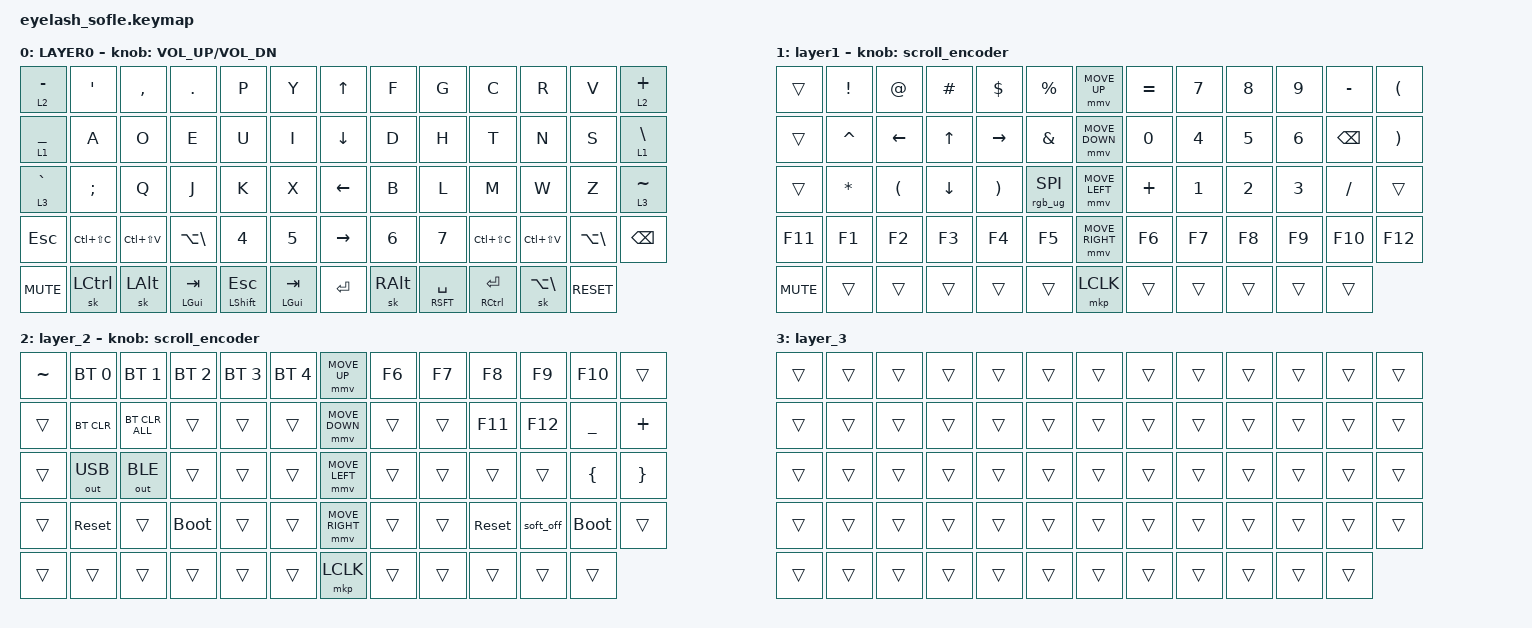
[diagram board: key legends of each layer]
#define ZMK_POINTING_DEFAULT_MOVE_VAL 1200  // 600
#define ZMK_POINTING_DEFAULT_SCRL_VAL 25   // 10

#include <input/processors.dtsi>
#include <zephyr/dt-bindings/input/input-event-codes.h>
#include <behaviors.dtsi>
#include <dt-bindings/zmk/bt.h>
#include <dt-bindings/zmk/ext_power.h>
#include <dt-bindings/zmk/keys.h>
#include <dt-bindings/zmk/pointing.h>
#include <dt-bindings/zmk/rgb.h>
#include <dt-bindings/zmk/outputs.h>

&mmv_input_listener { input-processors = <&zip_xy_scaler 2 1>; };

&msc_input_listener { input-processors = <&zip_scroll_scaler 2 1>; };

&msc {
    acceleration-exponent = <1>;      // 0
    time-to-max-speed-ms = <100>;       // 300
    delay-ms = <0>;                   // 0
};

&mmv {
    time-to-max-speed-ms = <500>;
    acceleration-exponent = <1>;
    trigger-period-ms = <16>;
};


/ {

    scroll_encoder: scroll_encoder {
        compatible = "zmk,behavior-sensor-rotate";
        #sensor-binding-cells = <0>;
        bindings = <&msc SCRL_DOWN>, <&msc SCRL_UP>;
        tap-ms = <100>;
    };

    keymap {
        compatible = "zmk,keymap";

        layer0 {
            bindings = <
&lt 2 MINUS  &kp SQT    &kp COMMA     &kp DOT        &kp P            &kp Y       &kp UP_ARROW     &kp F       &kp G            &kp C               &kp R            &kp V           &lt 2 PLUS
&lt 1 UNDER &kp A      &kp O         &kp E          &kp U             &kp I       &kp DOWN_ARROW   &kp D       &kp H            &kp T               &kp N            &kp S           &lt 1 BSLH
&lt 3 GRAVE &kp SEMI  &kp Q         &kp J           &kp K             &kp X       &kp LEFT_ARROW   &kp B       &kp L            &kp M               &kp W            &kp Z           &lt 3 TILDE
&kp ESC     &kp LC(LS(C)) &kp LC(LS(V)) &kp LA(BSLH)   &kp N4         &kp N5      &kp RIGHT_ARROW  &kp N6      &kp N7           &kp LC(LS(C))       &kp LC(LS(V))    &kp LA(BSLH)    &kp BACKSPACE
&kp C_MUTE  &sk LCTRL  &sk LALT      &mt LGUI TAB   &mt LSHFT ESC   &mt LGUI TAB  &kp ENTER        &sk RALT    &mt RSFT SPACE   &mt RCTRL ENTER      &sk LA(BSLH)     &kp C_RESET
            >;

            sensor-bindings = <&inc_dec_kp C_VOLUME_UP C_VOL_DN>;
            display-name = "LAYER0";
        };

        layer_1 {
            bindings = <
&trans      &kp EXCL    &kp AT            &kp HASH         &kp DOLLAR         &kp PERCENT          &mmv MOVE_UP         &kp EQUAL     &kp N7     &kp N8      &kp N9     &kp MINUS        &kp LPAR
&trans      &kp CARET   &kp LEFT_ARROW    &kp UP_ARROW     &kp RIGHT_ARROW    &kp AMPS             &mmv MOVE_DOWN       &kp N0        &kp N4     &kp N5      &kp N6     &kp BACKSPACE    &kp RPAR
&trans      &kp STAR    &kp LPAR          &kp DOWN_ARROW   &kp RPAR           &rgb_ug RGB_SPI      &mmv MOVE_LEFT       &kp PLUS      &kp N1     &kp N2      &kp N3     &kp SLASH        &trans
&kp F11     &kp F1      &kp F2            &kp F3           &kp F4             &kp F5               &mmv MOVE_RIGHT      &kp F6        &kp F7     &kp F8      &kp F9     &kp F10          &kp F12
&kp C_MUTE  &trans      &trans            &trans            &trans            &trans               &mkp LCLK            &trans        &trans     &trans      &trans     &trans
            >;

            display-name = "layer1";
            sensor-bindings = <&scroll_encoder>;
        };

        layer_2 {
            bindings = <
&kp TILDE  &bt BT_SEL 0  &bt BT_SEL 1    &bt BT_SEL 2  &bt BT_SEL 3  &bt BT_SEL 4    &mmv MOVE_UP     &kp F6  &kp F7  &kp F8      &kp F9     &kp F10      &trans
&trans     &bt BT_CLR    &bt BT_CLR_ALL  &trans        &trans        &trans          &mmv MOVE_DOWN   &trans  &trans  &kp F11     &kp F12    &kp UNDER    &kp PLUS
&trans     &out OUT_USB  &out OUT_BLE    &trans        &trans        &trans          &mmv MOVE_LEFT   &trans  &trans  &trans      &trans     &kp LBRC     &kp RBRC
&trans     &sys_reset    &trans          &bootloader   &trans        &trans          &mmv MOVE_RIGHT  &trans  &trans  &sys_reset  &soft_off  &bootloader  &trans
&trans     &trans        &trans          &trans        &trans        &trans          &mkp LCLK        &trans  &trans  &trans      &trans     &trans
            >;

            sensor-bindings = <&scroll_encoder>;
        };

        layer_3 {
            bindings = <
&trans  &trans  &trans  &trans  &trans  &trans    &trans  &trans  &trans  &trans  &trans  &trans  &trans
&trans  &trans  &trans  &trans  &trans  &trans    &trans  &trans  &trans  &trans  &trans  &trans  &trans
&trans  &trans  &trans  &trans  &trans  &trans    &trans  &trans  &trans  &trans  &trans  &trans  &trans
&trans  &trans  &trans  &trans  &trans  &trans    &trans  &trans  &trans  &trans  &trans  &trans  &trans
&trans  &trans  &trans  &trans  &trans  &trans    &trans  &trans  &trans  &trans  &trans  &trans
            >;
        };
    };
    combos {
        compatible = "zmk,combos";
        combo_slash {
            timeout-ms = <100>;
            key-positions = <15 21 9>;
            layers=<0>;
            bindings=<&kp SLASH>;
        };
        combo_qmark {
            timeout-ms = <100>;
            key-positions = <15 21 8>;
            layers=<0>;
            bindings=<&kp QMARK>;
        };
        combo_bkslash {
            timeout-ms = <100>;
            key-positions = <15 23 9>;
            layers=<0>;
            bindings=<&kp BSLH>;
        };
        combo_pipe {
            timeout-ms = <100>;
            key-positions = <17 23 10>;
            layers=<0>;
            bindings=<&kp PIPE>;
        };
        combo_lt_1_right {
            timeout-ms = <100>;
            key-positions = <16 3>;
            layers=<0>;
            bindings=<&mo 1>;
        };
        combo_lt_1_left {
            timeout-ms = <100>;
            key-positions = <22 9>;
            layers=<0>;
            bindings=<&mo 1>;
        };
        combo_lpar {
            timeout-ms = <100>;
            key-positions = <2 15 21>;
            layers=<0>;
            bindings = <&kp LPAR>;
        };
        combo_rpar {
            timeout-ms = <100>;
            key-positions = <2 15 34>;
            layers=<0>;
            bindings = <&kp RPAR>;
        };
        combo_lbkt {
            timeout-ms = <100>;
            key-positions = <2 15 22>;
            layers=<0>;
            bindings = <&kp LBKT>;
        };
        combo_rbkt {
            timeout-ms = <100>;
            key-positions = <2 15 35>;
            layers=<0>;
            bindings = <&kp RBKT>;
        };
        combo_lbrc {
            timeout-ms = <100>;
            key-positions = <2 15 23>;
            layers=<0>;
            bindings = <&kp LBRC>;
        };
        combo_rbrc {
            timeout-ms = <100>;
            key-positions = <2 15 36>;
            layers=<0>;
            bindings = <&kp RBRC>;
        };
        combo_minus {
            timeout-ms = <100>;
            key-positions = <15 8 9>;
            layers = <0>;
            bindings = <&kp MINUS>;
        };
        combo_under {
            timeout-ms = <100>;
            key-positions = <16 9 10>;
            layers = <0>;
            bindings = <&kp UNDER>;
        };
    };
};
